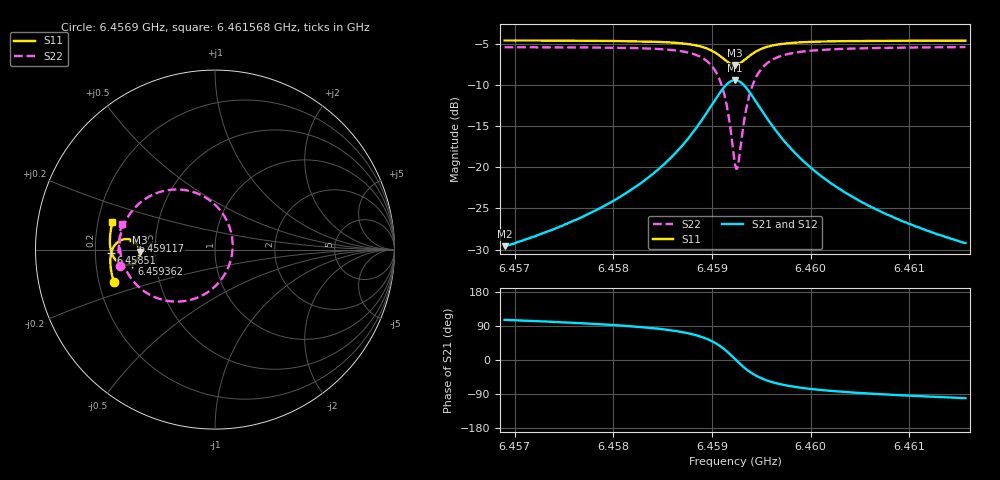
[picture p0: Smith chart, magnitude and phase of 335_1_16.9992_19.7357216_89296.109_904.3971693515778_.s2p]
#  HZ  S  RI  R  50.00
! Rohde & Schwarz Vector Network Analyzer
! Rohde-Schwarz,ZNB20-2Port,1311601062101988,3.16
! Created: UTC 3/20/2024, 11:07:04 PM
! freq[Hz]  re:S11  im:S11  re:S21  im:S21  re:S12  im:S12  re:S22  im:S22
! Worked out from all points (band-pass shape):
!   401 points, 6.4569 GHz to 6.461568 GHz, reference 50 ohm
!   highest |S21| = -9.38 dB at 6.459234 GHz (marker M1); lowest = -29.6 dB at 6.4569 GHz (marker M2)
!   |S21| within 3 dB of the highest: 6.459 GHz to 6.459468 GHz (467.2 kHz wide, 0.00723 % of centre)
!   lowest |S11| = -7.5 dB at 6.459234 GHz (marker M3), VSWR 2.45, Z = 20.4 - j0.637 ohm
!   |S11| at or under -10 dB: nowhere
!   |S22| runs from -20.2 to -5.4 dB; largest |S21 - S12| = 0.013
!   S11 on the Smith chart (normalised r, x): 6.4569 GHz: 0.26, -0.14; 6.45851 GHz: 0.27, -0.02; 6.459117 GHz: 0.37, +0.05; 6.459362 GHz: 0.37, -0.07; 6.461568 GHz: 0.26, +0.12
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6.4568998e9  -0.5648 -0.1781  -0.00914 0.0319  -0.00732 0.0319  -0.5304 -0.0905
6.4576817e9  -0.5797 -0.1101  -0.006 0.0495  -0.00339 0.0489  -0.5368 -0.000261
6.4581369e9  -0.5831 -0.0646  0.00022 0.0701  0.0035 0.0687  -0.5286 0.0709
6.4584637e9  -0.5796 -0.0256  0.0131 0.0972  0.0172 0.0946  -0.5051 0.1437
6.4585104e9  -0.5782 -0.0194  0.0164 0.1025  0.0206 0.0996  -0.499 0.1568
6.4587204e9  -0.5665 0.0125  0.0422 0.134  0.0462 0.1292  -0.4514 0.2277
6.4588722e9  -0.5455 0.0389  0.0841 0.164  0.0874 0.1576  -0.3743 0.2914
6.4590239e9  -0.4997 0.0588  0.1746 0.183  0.1757 0.1757  -0.2097 0.3351
6.4591173e9  -0.4558 0.049  0.2632 0.1526  0.2635 0.1466  -0.0465 0.2865
6.459164e9  -0.4348 0.0305  0.3062 0.1106  0.3074 0.1053  0.0347 0.2118
6.459234e9  -0.4201 -0.0128  0.3392 0.0154  0.3426 0.00856  0.0982 0.0363
6.4592457e9  -0.4204 -0.0209  0.3392 -0.00203  0.3428 -0.00965  0.098 0.00352
6.459269e9  -0.4239 -0.0362  0.3338 -0.0361  0.3373 -0.0452  0.0872 -0.0608
6.4593273e9  -0.4443 -0.0669  0.2964 -0.107  0.2976 -0.1192  0.0122 -0.1932
6.4593624e9  -0.4609 -0.0781  0.2648 -0.1356  0.2638 -0.1484  -0.0513 -0.2444
6.4594557e9  -0.5037 -0.0846  0.1817 -0.1664  0.1757 -0.1776  -0.2159 -0.2899
6.4596075e9  -0.5469 -0.0644  0.0953 -0.1533  0.0871 -0.1593  -0.3796 -0.242
6.4597825e9  -0.5693 -0.0349  0.0491 -0.1245  0.0417 -0.1269  -0.4621 -0.1671
6.4600159e9  -0.5811 -0.00129  0.0224 -0.0954  0.0166 -0.0959  -0.5059 -0.0908
6.4603661e9  -0.5857 0.0398  0.00634 -0.0691  0.00248 -0.0687  -0.5272 -0.0128
6.4607979e9  -0.5838 0.083  -0.00114 -0.051  -0.0041 -0.0501  -0.5314 0.055
6.4615682e9  -0.5715 0.151  -0.00648 -0.0341  -0.00801 -0.033  -0.5199 0.1446
